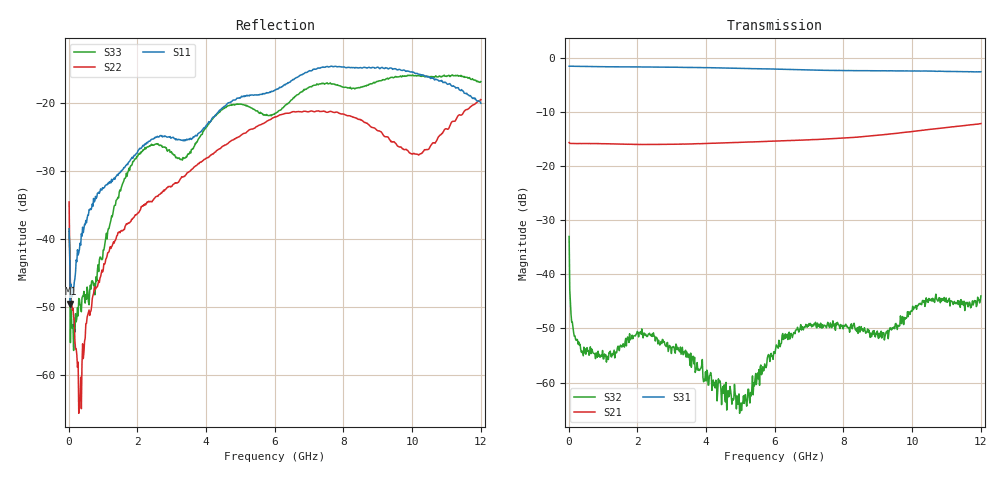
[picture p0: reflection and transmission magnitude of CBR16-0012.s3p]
! MARKI MICROWAVE INC.
! Email:  info@markimicrowave.com  Phone:  408-778-4200
! Model Number:  CBR16-0012  Date:  07/12
! Filename:		CBR16-0012.S3P  Version: 1.0
! Description:  3-port S-parameter data for Bridge Coupler CBR16-0012
! Frequency Range: 	10 MHz to 12 GHz
! Port Configuration:	PORT 1: INPUT, PORT 2: COUPLED and Port 3: Output
! S3P File: Measurements: Mag<S11> Ang<S11> Mag<S12> Ang<S12> Mag<S13> Ang<S13>! row 1
!  Mag<S21> Ang<S21> Mag<S22> Ang<S22> Mag<S23> Ang<S23>! row 2
!  Mag<S31> Ang<S31> Mag<S32> Ang<S32> Mag<S33> Ang<S33>! row 3
# Hz S  dB  R 50
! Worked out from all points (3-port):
!   641 points, 10 MHz to 12 GHz, reference 50 ohm
!   strongest paths, dB at 10 MHz, 3.008 GHz, 6.006 GHz, 9.004 GHz, 12 GHz:
!     S31: -1.6, -1.8, -2.1, -2.4, -2.6
!     S21: -15.7, -16.0, -15.4, -14.3, -12.2
!     S32: -33.0, -53.4, -54.6, -51.5, -44.0
!   lowest |S11| = -49.5 dB at 47.48 MHz (marker M1), VSWR 1.01, Z = 50 - j0.333 ohm
!   |S11| at or under -10 dB: start of sweep to end of sweep
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1e7  -38.51 -92.3  -15.56 -7.8  -1.59 0.0
     -15.67 -7.9  -34.55 -88.0  -33.79 89.4
     -1.58 -0.2  -33.01 89.3  -38.90 -65.9
4.7475e7  -49.51 -83.3  -15.82 -4.6  -1.56 -5.1
          -15.84 -4.6  -46.44 -116.6  -45.10 65.8
          -1.57 -4.9  -45.02 66.4  -55.22 -72.1
1.640162e9  -29.39 -163.6  -15.97 -98.1  -1.69 -176.9
            -15.97 -98.0  -38.14 -129.0  -51.99 -140.3
            -1.70 -176.9  -52.52 -143.4  -31.09 -18.5
3.251588e9  -25.42 106.7  -15.96 167.5  -1.77 9.4
            -15.95 167.6  -31.16 120.3  -54.14 28.6
            -1.78 9.5  -53.43 31.4  -28.33 89.8
4.919225e9  -19.31 25.0  -15.65 68.6  -1.95 -170.7
            -15.67 68.6  -25.06 11.7  -61.02 -65.8
            -1.98 -170.6  -63.94 -82.2  -20.21 176.8
6.006e9  -18.11 -36.0  -15.40 3.0  -2.10 72.0
         -15.40 3.0  -22.05 -50.5  -54.65 -131.4
         -2.11 72.0  -54.63 -130.5  -21.54 -2.6
7.486262e9  -14.69 -114.9  -15.02 -86.8  -2.33 -87.6
            -15.03 -86.8  -21.33 -117.3  -49.48 48.0
            -2.34 -87.5  -49.60 46.3  -17.14 122.5
9.060212e9  -14.98 166.8  -14.28 177.2  -2.39 102.1
            -14.29 177.0  -24.16 -165.4  -51.71 -104.2
            -2.43 102.2  -51.57 -105.5  -16.76 -138.4
1.078406e10  -16.81 72.0  -13.07 68.0  -2.51 -86.3
             -13.06 68.0  -24.91 -158.5  -44.48 98.6
             -2.50 -86.4  -44.31 99.0  -16.06 -51.8
1.2002e10  -20.05 -24.1  -12.16 -11.7  -2.58 139.5
           -12.17 -11.6  -19.51 171.8  -43.97 3.7
           -2.60 139.3  -43.99 4.3  -16.86 130.8
